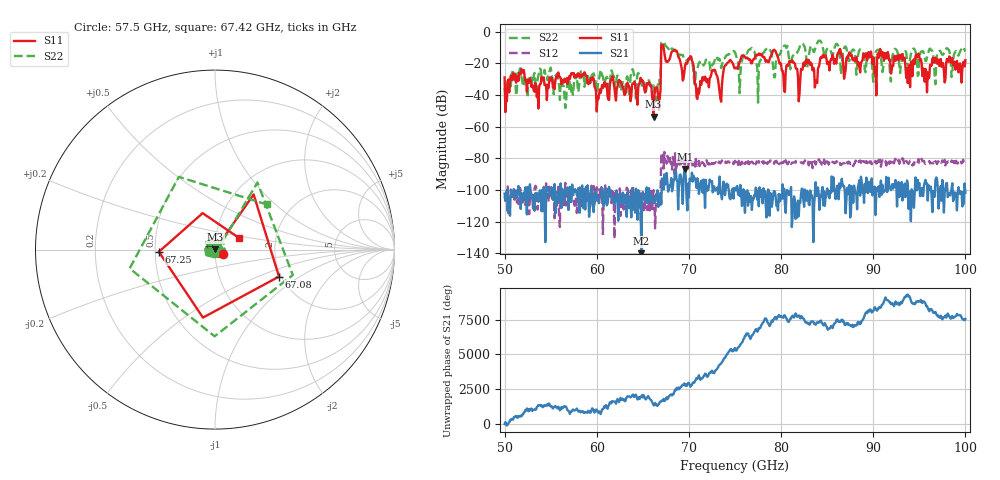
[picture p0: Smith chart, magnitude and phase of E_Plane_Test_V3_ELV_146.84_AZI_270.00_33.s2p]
! 11/26/2026 4:21:27 PM
! C:\ANRITSUVNA\TEMP\TEMP.S2P
! CHANNEL.1
! TR.MEASUREMENT
! RAW.DATA
# HZ S RI R 50.0
! FREQ.HZ  S11RE  S11IM  S21RE  S21IM  S12RE  S12IM  S22RE  S22IM
!; PortSelection: Port_12
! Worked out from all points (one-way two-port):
!   601 points, 50 GHz to 100 GHz, reference 50 ohm
!   highest |S21| = -86.82 dB at 69.58 GHz (marker M1); lowest = -140.0 dB at 64.83 GHz (marker M2)
!   lowest |S11| = -53.8 dB at 66.17 GHz (marker M3), VSWR 1.00, Z = 50.1 + j0.146 ohm
!   |S11| at or under -10 dB: start of sweep to 67 GHz; 67.25 GHz to end of sweep
!   |S22| runs from -48.3 to -5.6 dB; largest |S21 - S12| = 0.00019
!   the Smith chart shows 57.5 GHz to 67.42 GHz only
!   S11 on the Smith chart (normalised r, x): 57.5 GHz: 1.09, -0.05; 67.08 GHz: 1.95, -0.69; 67.25 GHz: 0.52, -0.01; 67.42 GHz: 1.29, +0.17
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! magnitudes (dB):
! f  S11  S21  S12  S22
! 50 GHz  -28.9  -102.4  -104.1  -35.6
! 57.5 GHz  -26.1  -101.0  -106.8  -34.6
! 58.42 GHz  -27.1  -97.2  -102.3  -24.7
! 60.17 GHz  -42.7  -106.9  -105.1  -30.4
! 64.83 GHz  -30.0  -140.0  -121.0  -32.4
! 66.17 GHz  -53.8  -106.7  -100.1  -34.0
! 66.67 GHz  -41.5  -110.8  -102.1  -31.6
! 67.08 GHz  -8.2  -92.8  -76.5  -6.8
! 67.25 GHz  -10.1  -99.8  -86.6  -6.3
! 67.42 GHz  -16.6  -96.6  -81.4  -8.3
! 69.58 GHz  -21.4  -86.8  -83.9  -18.1
! 70.25 GHz  -15.9  -94.3  -82.1  -18.8
! 70.92 GHz  -42.5  -92.6  -84.7  -23.2
! 75 GHz  -23.3  -99.6  -81.6  -13.0
! 79.25 GHz  -11.5  -100.7  -83.5  -28.9
! 80.25 GHz  -27.8  -105.2  -82.8  -9.3
! 83.42 GHz  -24.5  -106.6  -86.3  -10.8
! 91.67 GHz  -16.6  -92.4  -81.5  -15.2
! 93.75 GHz  -32.5  -95.9  -83.2  -21.3
! 94.83 GHz  -15.1  -93.7  -82.5  -27.9
! 95.83 GHz  -38.3  -96.0  -83.0  -16.5
! 100 GHz  -18.0  -101.8  -81.4  -12.6
